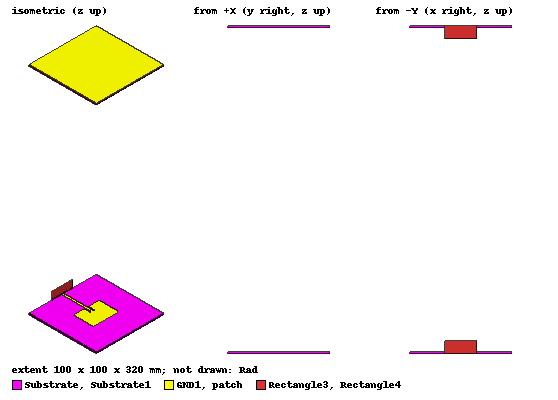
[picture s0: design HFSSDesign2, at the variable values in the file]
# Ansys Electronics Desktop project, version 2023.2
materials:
  FR4_epoxy: permittivity=4.4 dielectric_loss_tangent=0.02
  Material1: permittivity=11.4 conductivity=0.385 dielectric_loss_tangent=0.04
  air: permittivity=1.0006 permeability=1.0000004
  vacuum: permittivity=1

design HFSSDesign2 (HFSS, HFSS Modal Network, model units mm)
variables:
  hs = 1.6mm
  w = 100mm
  l = 100mm
  l1 = 29.443143mm
  w1 = 38.036289mm
  t = 3.058975mm
  lambda = 125mm
  tc = 2*t
  lc = 9.25mm  # optimise 5mm..15mm
  r1 = 2mm
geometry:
  Substrate [FR4_epoxy] = box(corner=(-w/2, -l/2, 0mm), size=(w, l, hs))
  patch = rectangle(corner=(-w1/2, -l1/2, hs), x_size=w1, y_size=l1)
  feed = rectangle(corner=(-t/2, -l /2, 1.6mm), x_size=t, y_size=w/2)
  GND = rectangle(corner=(-w/2, -l/2, 0mm), x_size=w, y_size=l)
  Rad [air] = box(corner=(-w/2, -l/2, -10*hs), size=(w, l, 220*hs))
  Rectangle3 = rectangle(corner=(-5*t, -w/2, 0mm), z_size=8*hs, x_size=10*t)
  cut = rectangle(corner=(-tc/2, -l1/2, hs), x_size=tc, y_size=lc)
  patch.subtract(cut)
  patch.unite(feed)
  Substrate1 [FR4_epoxy] = box(corner=(-w/2, -l/2, 0mm), size=(w, l, hs))
  patch1 = rectangle(corner=(-w1/2, -l1/2, hs), x_size=w1, y_size=l1)
  cut1 = rectangle(corner=(-tc/2, -l1/2, hs), x_size=tc, y_size=lc)
  patch1.subtract(cut1)
  feed1 = rectangle(corner=(-t/2, -l /2, 1.6mm), x_size=t, y_size=w/2)
  patch1.unite(feed1)
  GND1 = rectangle(corner=(-w/2, -l/2, 0mm), x_size=w, y_size=l)
  [Substrate1, patch1, GND1].rotate(axis=Y, angle=180deg)
  [Substrate1, patch1, GND1].move(0mm, 0mm, 200*hs)
  Rectangle4 = rectangle(corner=(-5*t, -50mm, 200*hs), z_size=-8*hs, x_size=10*t)
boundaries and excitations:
  PerfE1: Perfect E Objects=patch
  PerfE2: Perfect E Objects=GND
  Rad1: Radiation Objects=Rad
  PerfE3: Perfect E Objects=patch1
  PerfE4: Perfect E Objects=GND1
  1: Wave Port Objects=Rectangle3 WavePortType=Modal NumModes=1 Modes{Mode1{IntLine{(0, -50, 0) -> (0, -50, 12.8)} CharImp=Zpi}}
  2: Wave Port Objects=Rectangle4 WavePortType=Modal NumModes=1 Modes{Mode1{IntLine{(0, -50, 320) -> (0, -50, 307.2)} CharImp=Zpi}}
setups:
  Setup1: HfssDriven Frequency=2.4GHz MaxDeltaS=0.02 MaximumPasses=6 MinimumPasses=1 MinimumConvergedPasses=1 PercentRefinement=30 BasisOrder=1 PortAccuracy=2 DrivenSolverType="Direct Solver"
    sweep Sweep: 1.2GHz to 3.6GHz, 401 points; Type=Fast SaveFields
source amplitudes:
  1:1: 1V 0deg
  2:1: 0W 0deg
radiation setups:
  Infinite Sphere1: Infinite Sphere Theta=-180deg..180deg step 2deg Phi=0deg..90deg step 90deg
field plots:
  Mag_E1: E Field over patch.face(at (0, -17.6392, 1.6)) on Setup1 : Sweep at Freq=2.19GHz Phase=0deg
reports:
  S Parameter Plot 1: dB(S(1,1)) vs Freq on Setup1 : Sweep [lc=all]; markers m1 at 2.19GHz, m2 at 2.154GHz
  Gain Plot 1: dB(GainTotal) vs Theta on Setup1 : LastAdaptive, Infinite Sphere1 [Phi=all Freq=2.4GHz lc=all]
  Gain Plot 2: GainTotal vs Theta on Setup1 : Sweep, Infinite Sphere1 [Phi=all Freq=2.19GHz lc=9.25mm]
  S Parameter Plot 2: dB(S(1,2)) vs Freq on Setup1 : Sweep; markers m1 at 2.166GHz
